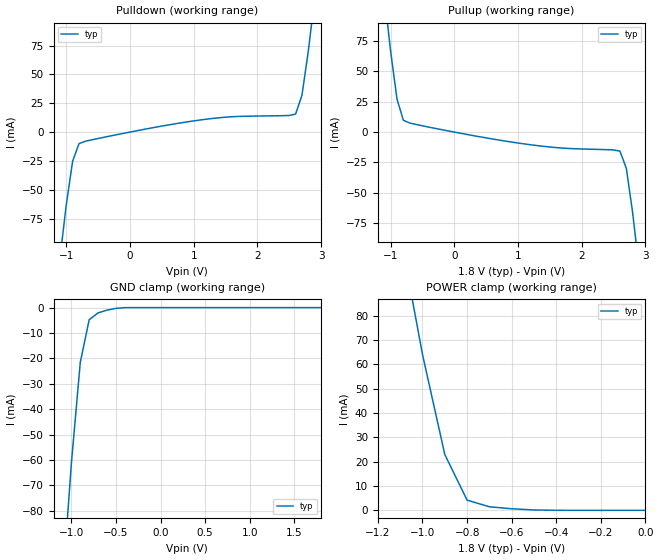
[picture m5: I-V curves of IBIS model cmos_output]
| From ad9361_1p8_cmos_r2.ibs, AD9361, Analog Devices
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[MODEL] cmos_output
Model_type   Output
Polarity   Non-Inverting
Cref  =   3.000pF
Rref  =   10kOhm
Vref  =   1.8V
Vmeas =   1.5V
|   typ   min   max
C_comp   3.000pF   NA   NA
[Voltage Range]   1.80V   NA   NA
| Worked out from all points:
|   slope of the pulldown table from 0 to 0.27 V, typ, clamps not added: 93.9 ohm
|   slope of the pullup table from 0 to 0.27 V, typ, clamps not added: 102 ohm
|   GND clamp passes 1 mA (typ) near -0.60 V on its own axis
|   POWER clamp passes 1 mA (typ) near -0.64 V on its own axis
[GND Clamp]
| Voltage  I(typ)   I(min)  I(max)
-1.8V     -495.9mA   NA         NA
-1.1V     -110.2mA   NA         NA
-1V       -61.38mA   NA         NA
-900mV    -21.55mA   NA         NA
-800mV    -4.757mA   NA         NA
-700mV    -2.081mA   NA         NA
-500mV    -309.3uA   NA         NA
-400mV    -32.46uA   NA         NA
1.8V      90pA       NA         NA
[POWER Clamp]
| Voltage  I(typ)   I(min)  I(max)
-1.8V     500.7mA    NA         NA
-1.1V     113.4mA    NA         NA
-1V       64.07mA    NA         NA
-900mV    22.95mA    NA         NA
-800mV    4.199mA    NA         NA
-700mV    1.478mA    NA         NA
-600mV    656.2uA    NA         NA
-400mV    15.82uA    NA         NA
0V        90pA       NA         NA
[Pulldown]
| Voltage  I(typ)   I(min)  I(max)
-1.8V     -477.7mA   NA         NA
-1.1V     -109.7mA   NA         NA
-1V       -63.05mA   NA         NA
-900mV    -25.18mA   NA         NA
-800mV    -9.984mA   NA         NA
100mV     1.083mA    NA         NA
1.1V      10.45mA    NA         NA
2.6V      15.61mA    NA         NA
2.7V      31.92mA    NA         NA
2.8V      70.16mA    NA         NA
2.9V      116.3mA    NA         NA
3.6V      481.6mA    NA         NA
[Pullup]
| Voltage  I(typ)   I(min)  I(max)
-1.8V     482.5mA    NA         NA
-1.1V     113.6mA    NA         NA
-1V       66.37mA    NA         NA
-900mV    27.07mA    NA         NA
-800mV    9.713mA    NA         NA
-200mV    2.02mA     NA         NA
1.1V      -9.742mA   NA         NA
2.6V      -15.69mA   NA         NA
2.7V      -29.85mA   NA         NA
2.8V      -66.67mA   NA         NA
2.9V      -112.3mA   NA         NA
3.6V      -477.6mA   NA         NA
[Ramp]
|   typ   min   max
dV/dt_r   1.18V/.1453ns   NA   NA
dV/dt_f   1.18V/.1463ns   NA   NA
R_load=10k
|----------------------------end cmos_output model---------------
